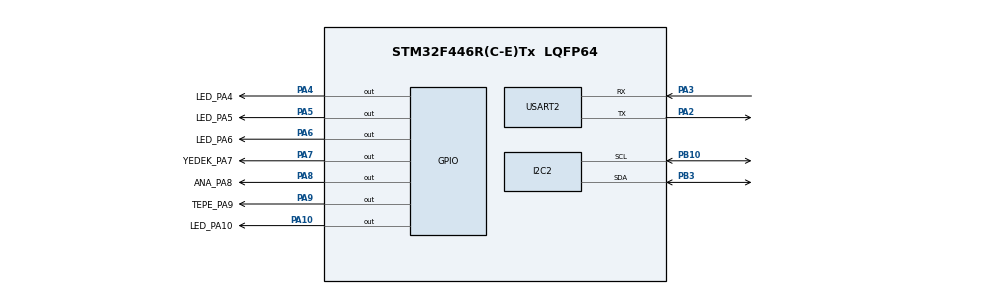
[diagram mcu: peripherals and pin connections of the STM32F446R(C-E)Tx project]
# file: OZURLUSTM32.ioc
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Dma.Request0=USART2_RX
Dma.USART2_RX.0.Direction=DMA_PERIPH_TO_MEMORY
Dma.USART2_RX.0.FIFOMode=DMA_FIFOMODE_DISABLE
Dma.USART2_RX.0.Instance=DMA1_Stream5
Dma.USART2_RX.0.MemDataAlignment=DMA_MDATAALIGN_BYTE
Dma.USART2_RX.0.MemInc=DMA_MINC_ENABLE
Dma.USART2_RX.0.Mode=DMA_NORMAL
Dma.USART2_RX.0.PeriphDataAlignment=DMA_PDATAALIGN_BYTE
Dma.USART2_RX.0.PeriphInc=DMA_PINC_DISABLE
Dma.USART2_RX.0.Priority=DMA_PRIORITY_LOW
FREERTOS.BinarySemaphores01=TeleSem,Dynamic,NULL,Available
FREERTOS.Mutexes01=SensorMutex,Dynamic,NULL,Available
FREERTOS.Tasks01=defaultTask,16,128,StartDefaultTask,Default,NULL,Dynamic,NULL,NULL;stateMachine,32,512,stateMachineTask,Default,NULL,Dynamic,NULL,NULL;sendTele,24,512,sendTeleTask,Default,NULL,Dynamic,NULL,NULL;orderTele,48,512,orderTeleTask,Default,NULL,Dynamic,NULL,NULL
Mcu.Family=STM32F4
Mcu.Name=STM32F446R(C-E)Tx
Mcu.Package=LQFP64
NVIC.DMA1_Stream5_IRQn=true\:5\:0\:false\:false\:true\:true\:false\:true\:true
NVIC.PriorityGroup=NVIC_PRIORITYGROUP_4
NVIC.TIM1_UP_TIM10_IRQn=true\:15\:0\:false\:false\:true\:false\:false\:true\:true
NVIC.TimeBase=TIM1_UP_TIM10_IRQn
NVIC.TimeBaseIP=TIM1
NVIC.USART2_IRQn=true\:5\:0\:false\:false\:true\:true\:true\:true\:true
PA10.GPIO_Label=LED_PA10
PA10.Signal=GPIO_Output
PA13.Signal=SYS_JTMS-SWDIO
PA14.Signal=SYS_JTCK-SWCLK
PA2.Mode=Asynchronous
PA2.Signal=USART2_TX
PA3.Mode=Asynchronous
PA3.Signal=USART2_RX
PA4.GPIO_Label=LED_PA4
PA4.Signal=GPIO_Output
PA5.GPIO_Label=LED_PA5
PA5.Signal=GPIO_Output
PA6.GPIO_Label=LED_PA6
PA6.Signal=GPIO_Output
PA7.GPIO_Label=YEDEK_PA7
PA7.Signal=GPIO_Output
PA8.GPIO_Label=ANA_PA8
PA8.Signal=GPIO_Output
PA9.GPIO_Label=TEPE_PA9
PA9.Signal=GPIO_Output
PB10.Mode=I2C
PB10.Signal=I2C2_SCL
PB3.Mode=I2C
PB3.Signal=I2C2_SDA
ProjectManager.HeapSize=0x200
ProjectManager.StackSize=0x400
ProjectManager.TargetToolchain=STM32CubeIDE
RCC.CortexFreq_Value=16000000
RCC.USBFreq_Value=96000000
RCC.VCOOutputFreq_Value=192000000
USART2.VirtualMode=VM_ASYNC
VP_FREERTOS_VS_CMSIS_V2.Mode=CMSIS_V2
VP_SYS_VS_tim1.Mode=TIM1
board=custom

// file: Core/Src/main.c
/* USER CODE BEGIN Header */
/**
  ******************************************************************************
  * @file           : main.c
  * @brief          : Main program body
  ******************************************************************************
  * @attention
  *
  * Copyright (c) 2026 STMicroelectronics.
  * All rights reserved.
  *
  * This software is licensed under terms that can be found in the LICENSE file
  * in the root directory of this software component.
  * If no LICENSE file comes with this software, it is provided AS-IS.
  *
  ******************************************************************************
  */
/* USER CODE END Header */
#include "main.h"
#include "cmsis_os.h"
#include "dma.h"
#include "i2c.h"
#include "usart.h"
#include "gpio.h"

/* USER CODE BEGIN Includes */
#include "newfunctions.h"
#include "teknoukb.h"
/* USER CODE END Includes */

/* USER CODE BEGIN PV */
extern UART_HandleTypeDef huart2;
extern osSemaphoreId_t TeleSemHandle;
extern osThreadId_t orderTeleHandle;
/* USER CODE END PV */

void SystemClock_Config(void);
void MX_FREERTOS_Init(void);

int main(void)
{

  /* MCU Configuration--------------------------------------------------------*/

  /* Reset of all peripherals, Initializes the Flash interface and the Systick. */
  HAL_Init();

  /* Configure the system clock */
  SystemClock_Config();

  /* Initialize all configured peripherals */
  MX_GPIO_Init();
  MX_DMA_Init();
  MX_USART2_UART_Init();
  MX_I2C2_Init();
  /* USER CODE BEGIN 2 */
  BMP180_Init(&hi2c2);
  BMP180_SetOversampling(BMP180_STANDARD);
  BMP180_UpdateCalibrationData();

  HAL_Delay(1000);
  bno055_setup();
  bno055_setOperationModeNDOF();

  extern uint8_t rxBuffer[100];
  HAL_UARTEx_ReceiveToIdle_DMA(&huart2, rxBuffer, sizeof(rxBuffer));
  /* USER CODE END 2 */

  /* Init scheduler */
  osKernelInitialize();  /* Call init function for freertos objects (in cmsis_os2.c) */
  MX_FREERTOS_Init();

  /* Start scheduler */
  osKernelStart();

  /* We should never get here as control is now taken by the scheduler */

  /* Infinite loop */
  while (1)
  {

  }
}

void SystemClock_Config(void)
{
  RCC_OscInitTypeDef RCC_OscInitStruct = {0};
  RCC_ClkInitTypeDef RCC_ClkInitStruct = {0};

  /** Configure the main internal regulator output voltage
  */
  __HAL_RCC_PWR_CLK_ENABLE();
  __HAL_PWR_VOLTAGESCALING_CONFIG(PWR_REGULATOR_VOLTAGE_SCALE3);

  /** Initializes the RCC Oscillators according to the specified parameters
  * in the RCC_OscInitTypeDef structure.
  */
  RCC_OscInitStruct.OscillatorType = RCC_OSCILLATORTYPE_HSI;
  RCC_OscInitStruct.HSIState = RCC_HSI_ON;
  RCC_OscInitStruct.HSICalibrationValue = RCC_HSICALIBRATION_DEFAULT;
  RCC_OscInitStruct.PLL.PLLState = RCC_PLL_NONE;
  if (HAL_RCC_OscConfig(&RCC_OscInitStruct) != HAL_OK)
  {
    Error_Handler();
  }

  /** Initializes the CPU, AHB and APB buses clocks
  */
  RCC_ClkInitStruct.ClockType = RCC_CLOCKTYPE_HCLK|RCC_CLOCKTYPE_SYSCLK
                              |RCC_CLOCKTYPE_PCLK1|RCC_CLOCKTYPE_PCLK2;
  RCC_ClkInitStruct.SYSCLKSource = RCC_SYSCLKSOURCE_HSI;
  RCC_ClkInitStruct.AHBCLKDivider = RCC_SYSCLK_DIV1;
  RCC_ClkInitStruct.APB1CLKDivider = RCC_HCLK_DIV1;
  RCC_ClkInitStruct.APB2CLKDivider = RCC_HCLK_DIV1;

  if (HAL_RCC_ClockConfig(&RCC_ClkInitStruct, FLASH_LATENCY_0) != HAL_OK)
  {
    Error_Handler();
  }
}

/* USER CODE BEGIN 4 */
extern uint8_t rxBuffer[100];

void HAL_UARTEx_RxEventCallback(UART_HandleTypeDef *huart, uint16_t Size)
{
    if(huart->Instance == USART2)
    {
        osThreadFlagsSet(orderTeleHandle, 0x0001);
    }
}

void HAL_UART_ErrorCallback(UART_HandleTypeDef *huart){
    if(huart->Instance == USART2){
    	// UART hattını hataya rağmen çalışır yapıyoruz.
        __HAL_UART_CLEAR_OREFLAG(huart); // Overrun error temizleyici.
        __HAL_UART_CLEAR_NEFLAG(huart); // Noise error temizleyici.
        __HAL_UART_CLEAR_FEFLAG(huart); // Framing error temizleyici.

        HAL_UARTEx_ReceiveToIdle_DMA(&huart2, rxBuffer, sizeof(rxBuffer)); // DMA kulağını açma.
    }
}
/* USER CODE END 4 */

void HAL_TIM_PeriodElapsedCallback(TIM_HandleTypeDef *htim)
{
  if (htim->Instance == TIM1)
  {
    HAL_IncTick();
  }
}

void Error_Handler(void)
{
  __disable_irq();
  while (1)
  {
  }
}

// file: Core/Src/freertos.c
/* USER CODE BEGIN Header */
/**
  ******************************************************************************
  * File Name          : freertos.c
  * Description        : Code for freertos applications
  ******************************************************************************
  * @attention
  *
  * Copyright (c) 2026 STMicroelectronics.
  * All rights reserved.
  *
  * This software is licensed under terms that can be found in the LICENSE file
  * in the root directory of this software component.
  * If no LICENSE file comes with this software, it is provided AS-IS.
  *
  ******************************************************************************
  */
/* USER CODE END Header */

#include "FreeRTOS.h"
#include "task.h"
#include "main.h"
#include "cmsis_os.h"

/* USER CODE BEGIN Includes */
#include "newfunctions.h"
#include "teknoukb.h"
/* USER CODE END Includes */

/* USER CODE BEGIN Variables */
	uint8_t headerByte;
	extern uint8_t header;
	HAL_StatusTypeDef sonuc;
	uint8_t rxBuffer[100];
	extern TestModlari aktifMod;

	uint8_t debug_ab_sayaci = 0;
	uint16_t debug_bekleyen_boyut = 0;
	uint8_t debug_sahteal_sayaci = 0;
/* USER CODE END Variables */
/* Definitions for defaultTask */
osThreadId_t defaultTaskHandle;
const osThreadAttr_t defaultTask_attributes = {
  .name = "defaultTask",
  .stack_size = 128 * 4,
  .priority = (osPriority_t) osPriorityBelowNormal,
};
/* Definitions for stateMachine */
osThreadId_t stateMachineHandle;
const osThreadAttr_t stateMachine_attributes = {
  .name = "stateMachine",
  .stack_size = 512 * 4,
  .priority = (osPriority_t) osPriorityAboveNormal,
};
/* Definitions for sendTele */
osThreadId_t sendTeleHandle;
const osThreadAttr_t sendTele_attributes = {
  .name = "sendTele",
  .stack_size = 512 * 4,
  .priority = (osPriority_t) osPriorityNormal,
};
/* Definitions for orderTele */
osThreadId_t orderTeleHandle;
const osThreadAttr_t orderTele_attributes = {
  .name = "orderTele",
  .stack_size = 512 * 4,
  .priority = (osPriority_t) osPriorityRealtime,
};
/* Definitions for SensorMutex */
osMutexId_t SensorMutexHandle;
const osMutexAttr_t SensorMutex_attributes = {
  .name = "SensorMutex"
};
/* Definitions for TeleSem */
osSemaphoreId_t TeleSemHandle;
const osSemaphoreAttr_t TeleSem_attributes = {
  .name = "TeleSem"
};

void StartDefaultTask(void *argument);
void stateMachineTask(void *argument);
void sendTeleTask(void *argument);
void orderTeleTask(void *argument);

void MX_FREERTOS_Init(void); /* (MISRA C 2004 rule 8.1) */

void MX_FREERTOS_Init(void) {
  /* Create the mutex(es) */
  /* creation of SensorMutex */
  SensorMutexHandle = osMutexNew(&SensorMutex_attributes);

  /* Create the semaphores(s) */
  /* creation of TeleSem */
  TeleSemHandle = osSemaphoreNew(1, 1, &TeleSem_attributes);

  /* Create the thread(s) */
  /* creation of defaultTask */
  defaultTaskHandle = osThreadNew(StartDefaultTask, NULL, &defaultTask_attributes);

  /* creation of stateMachine */
  stateMachineHandle = osThreadNew(stateMachineTask, NULL, &stateMachine_attributes);

  /* creation of sendTele */
  sendTeleHandle = osThreadNew(sendTeleTask, NULL, &sendTele_attributes);

  /* creation of orderTele */
  orderTeleHandle = osThreadNew(orderTeleTask, NULL, &orderTele_attributes);

}

void StartDefaultTask(void *argument)
{
  /* USER CODE BEGIN StartDefaultTask */
  /* Infinite loop */
  for(;;)
  {

    osDelay(1000);
  }
  /* USER CODE END StartDefaultTask */
}

void stateMachineTask(void *argument)
{
  /* USER CODE BEGIN stateMachineTask */
  /* Infinite loop */
  for(;;)
  {
	  if(aktifMod == MOD_UCUS || aktifMod == MOD_SIT) veriOkuma();
	  else if(aktifMod == MOD_SUT){}

	  hizHesaplama();

	  switch (ucusDurumu){ // Kurtarma algoritması, fonksiyonlar ve switch-case yapısıyla oluşturuldu.
		  	  case FAZ_RAMPA: firlatma(); // Rampadan fırlatmayı tespit etme.
		  	  	  	  	  	  break;
		  	  case FAZ_FIRLATMA: tirmanma(); // Fırlatmadan burnoutu tespit etme.
		  	  	  	  	  	  	 break;
		  	  case FAZ_TIRMANIS: arama(); // Burnout sonrası tepe noktası kilidini açıp aramaya geçme.
		  	  	  	  	  	     break;
		  	  case FAZ_ARAYIS: drogueAcma(); // Drogue açmak için apogee tespiti.
		  		  	  	  	   break;
		  	  case FAZ_DUSUS: anaParasutAcma(); // Ana paraşüt açma tespiti.
		  	  	  	  	  	  break;
			  case FAZ_INIS:  inisKontrol(); // İniş kontrol algoritması ve yedek paraşüt.
			  	  	  	  	  break;
			  case FAZ_BITIS: ledYakma(); // İnişin tamamlanmasıyla beraber yapılacaklar.
			  	  	  	  	  break;
	  }

	  osDelay(80);
  }
  /* USER CODE END stateMachineTask */
}

void sendTeleTask(void *argument)
{
  /* USER CODE BEGIN sendTeleTask */
  /* Infinite loop */
  for(;;)
  {
	 if(aktifMod == MOD_UCUS || aktifMod == MOD_SIT) teleGonder();
	 else if(aktifMod == MOD_SUT) fazGonder();
	 osDelay(100);
  }

  /* USER CODE END sendTeleTask */
}

void orderTeleTask(void *argument)
{
  /* USER CODE BEGIN orderTeleTask */
	HAL_GPIO_WritePin(LED_PA5_GPIO_Port, LED_PA5_Pin, 1);

    static uint8_t depo[256];
    static uint16_t depoLen = 0;
  /* Infinite loop */
    for(;;)
      {
          osThreadFlagsWait(0x0001, osFlagsWaitAny, osWaitForever); // Görev yalnızca emir gelince uyanır.
          uint16_t rxLen = sizeof(rxBuffer) - __HAL_DMA_GET_COUNTER(huart2.hdmarx); // Gelen verinin boyutunu hesaplama.
          if(depoLen + rxLen > 250) depoLen = 0; // Verilerin tek bir havuzda toplanmasını sağlar.
          memcpy(&depo[depoLen], rxBuffer, rxLen);
          depoLen += rxLen;
          int i = 0;
          while(i < depoLen)
          {
              if(depo[i] == 0xAA){ // Başlığı bulmaya çalışıyoruz buna göre sonraki komutu bekliyoruz.
                  if((depoLen - i) < 5) break;
                  uint8_t gercekCS = depo[i] + depo[i+1];
                  if(depo[i+2] == gercekCS){
                	  modGuncelle(depo[i+1]);
                  }
                  i += 5; // Yuttuk, ilerle
                  continue;
              }
              // SUT
              else if(depo[i] == 0xAB){
                  if((depoLen - i) < 36) break; // 36 bayt veri gelmesini bekleyen fonksiyon.
                  sahteAl(&depo[i]);
                  i += 36;
                  continue;
              }
              else{
                  i++;
              }
          }

          if(i < depoLen) {
              memmove(depo, &depo[i], depoLen - i); // Kesik gelen verileri kaydırıyoruz.
              depoLen = depoLen - i;
          } else {
              depoLen = 0;
          }

          memset(rxBuffer, 0, sizeof(rxBuffer)); // Hafızayı yeni veri alımına hazır hale getiriyoruz.
          HAL_UARTEx_ReceiveToIdle_DMA(&huart2, rxBuffer, sizeof(rxBuffer));
      }
  /* USER CODE END orderTeleTask */
}
